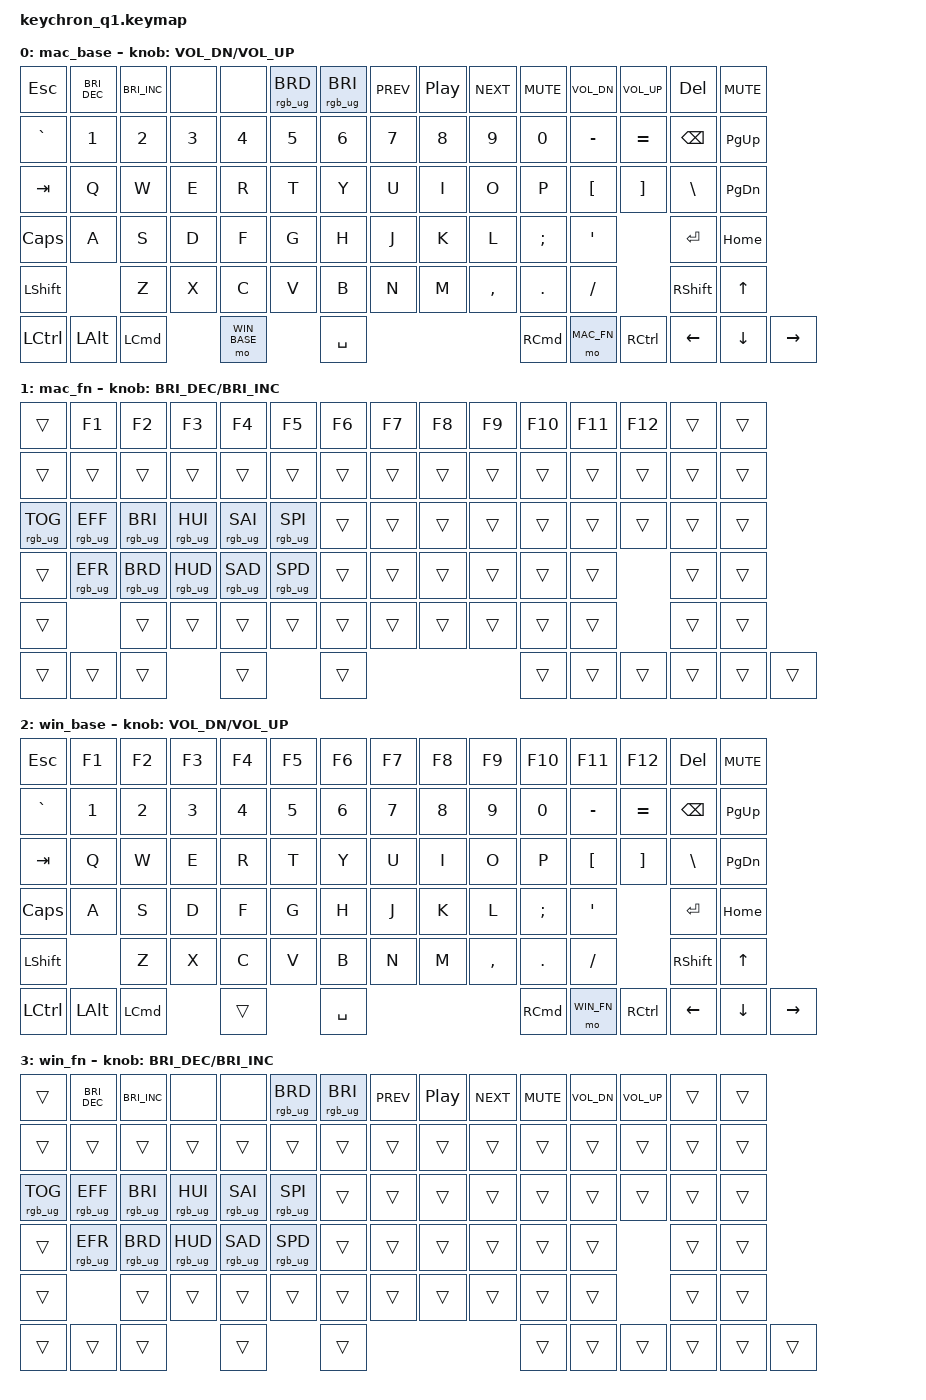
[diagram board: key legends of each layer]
/*
 * Copyright (c) 2022 The ZMK Contributors
 * SPDX-License-Identifier: MIT
 */

#include <behaviors.dtsi>
#include <dt-bindings/zmk/keys.h>
#include <dt-bindings/zmk/rgb.h>

#define MAC_BASE 0
#define MAC_FN 1
#define WIN_BASE 2
#define WIN_FN 3

/ {
    keymap {
        compatible = "zmk,keymap";

        mac_base {
            bindings = <
                &kp ESC   &kp C_BRI_DEC &kp C_BRI_INC &none   &none   &rgb_ug RGB_BRD &rgb_ug RGB_BRI &kp C_PREV  &kp C_PP  &kp C_NEXT  &kp C_MUTE  &kp C_VOL_DN  &kp C_VOL_UP  &kp DEL             &kp C_MUTE
                &kp GRAVE &kp N1        &kp N2        &kp N3  &kp N4  &kp N5          &kp N6          &kp N7      &kp N8    &kp N9      &kp N0      &kp MINUS     &kp EQUAL     &kp BSPC            &kp PG_UP
                &kp TAB   &kp Q         &kp W         &kp E   &kp R   &kp T           &kp Y           &kp U       &kp I     &kp O       &kp P       &kp LBKT      &kp RBKT      &kp BSLH            &kp PG_DN
                &kp CLCK  &kp A         &kp S         &kp D   &kp F   &kp G           &kp H           &kp J       &kp K     &kp L       &kp SEMI    &kp SQT                     &kp RET             &kp HOME
                &kp LSHFT               &kp Z         &kp X   &kp C   &kp V           &kp B           &kp N       &kp M     &kp COMMA   &kp DOT     &kp FSLH                    &kp RSHFT &kp UP
                &kp LCTRL &kp LALT      &kp LCMD              &mo WIN_BASE            &kp SPACE                                         &kp RCMD    &mo MAC_FN    &kp RCTRL     &kp LEFT  &kp DOWN  &kp RIGHT
            >;
            sensor-bindings = <&inc_dec_kp C_VOL_DN C_VOL_UP>;
        };

        mac_fn {
            bindings = <
                &trans          &kp F1          &kp F2          &kp F3          &kp F4          &kp F5          &kp F6  &kp F7  &kp F8  &kp F9  &kp F10 &kp F11 &kp F12 &trans          &trans
                &trans          &trans          &trans          &trans          &trans          &trans          &trans  &trans  &trans  &trans  &trans  &trans  &trans  &trans          &trans
                &rgb_ug RGB_TOG &rgb_ug RGB_EFF &rgb_ug RGB_BRI &rgb_ug RGB_HUI &rgb_ug RGB_SAI &rgb_ug RGB_SPI &trans  &trans  &trans  &trans  &trans  &trans  &trans  &trans          &trans
                &trans          &rgb_ug RGB_EFR &rgb_ug RGB_BRD &rgb_ug RGB_HUD &rgb_ug RGB_SAD &rgb_ug RGB_SPD &trans  &trans  &trans  &trans  &trans  &trans          &trans          &trans
                &trans                          &trans          &trans          &trans          &trans          &trans  &trans  &trans  &trans  &trans  &trans          &trans  &trans
                &trans          &trans          &trans                          &trans                          &trans                          &trans  &trans  &trans  &trans  &trans  &trans
            >;
            sensor-bindings = <&inc_dec_kp C_BRI_DEC C_BRI_INC>;
        };

        win_base {
            bindings = <
                &kp ESC   &kp F1    &kp F2    &kp F3  &kp F4  &kp F5  &kp F6    &kp F7  &kp F8  &kp F9    &kp F10   &kp F11     &kp F12   &kp DEL             &kp C_MUTE
                &kp GRAVE &kp N1    &kp N2    &kp N3  &kp N4  &kp N5  &kp N6    &kp N7  &kp N8  &kp N9    &kp N0    &kp MINUS   &kp EQUAL &kp BSPC            &kp PG_UP
                &kp TAB   &kp Q     &kp W     &kp E   &kp R   &kp T   &kp Y     &kp U   &kp I   &kp O     &kp P     &kp LBKT    &kp RBKT  &kp BSLH            &kp PG_DN
                &kp CLCK  &kp A     &kp S     &kp D   &kp F   &kp G   &kp H     &kp J   &kp K   &kp L     &kp SEMI  &kp SQT               &kp RET             &kp HOME
                &kp LSHFT           &kp Z     &kp X   &kp C   &kp V   &kp B     &kp N   &kp M   &kp COMMA &kp DOT   &kp FSLH              &kp RSHFT &kp UP
                &kp LCTRL &kp LALT  &kp LCMD          &trans          &kp SPACE                           &kp RCMD  &mo WIN_FN  &kp RCTRL &kp LEFT  &kp DOWN  &kp RIGHT
            >;
            sensor-bindings = <&inc_dec_kp C_VOL_DN C_VOL_UP>;
        };

        win_fn {
            bindings = <
                &trans          &kp C_BRI_DEC   &kp C_BRI_INC   &none           &none           &rgb_ug RGB_BRD &rgb_ug RGB_BRI &kp C_PREV  &kp C_PP  &kp C_NEXT  &kp C_MUTE  &kp C_VOL_DN  &kp C_VOL_UP  &trans          &trans
                &trans          &trans          &trans          &trans          &trans          &trans          &trans          &trans      &trans    &trans      &trans      &trans        &trans        &trans          &trans
                &rgb_ug RGB_TOG &rgb_ug RGB_EFF &rgb_ug RGB_BRI &rgb_ug RGB_HUI &rgb_ug RGB_SAI &rgb_ug RGB_SPI &trans          &trans      &trans    &trans      &trans      &trans        &trans        &trans          &trans
                &trans          &rgb_ug RGB_EFR &rgb_ug RGB_BRD &rgb_ug RGB_HUD &rgb_ug RGB_SAD &rgb_ug RGB_SPD &trans          &trans      &trans    &trans      &trans      &trans                      &trans          &trans
                &trans                          &trans          &trans          &trans          &trans          &trans          &trans      &trans    &trans      &trans      &trans                      &trans  &trans
                &trans          &trans          &trans                          &trans                          &trans                                            &trans      &trans        &trans        &trans  &trans  &trans
            >;
            sensor-bindings = <&inc_dec_kp C_BRI_DEC C_BRI_INC>;
        };
    };
};
